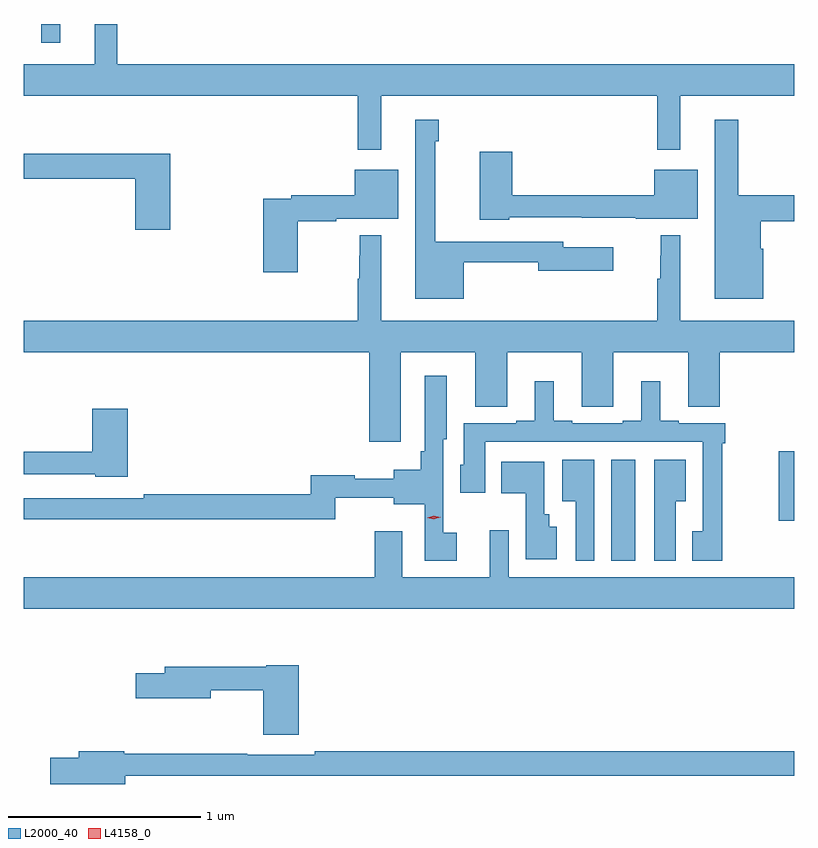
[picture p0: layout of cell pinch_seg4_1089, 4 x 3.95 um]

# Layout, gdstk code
import gdstk
lib = gdstk.Library(unit=1e-6, precision=1e-09)
def R(c, l, rs):  # rectangles x0, y0, x1, y1
    for r in rs: c.add(gdstk.rectangle(r[:2], r[2:], *l))
def P(c, l, *ps):  # polygons
    for p in ps: c.add(gdstk.Polygon(p, *l))
L2000_40 = (2000, 40)
L4158_0 = (4158, 0)

pinch_seg4_1089 = lib.new_cell('pinch_seg4_1089')
R(pinch_seg4_1089, L2000_40, [(421.328,806.394,421.453,806.917), (422.198,806.602,422.278,806.962), (418.37,809.082,418.467,809.18)])
P(pinch_seg4_1089, L2000_40, [(420.133,808.808),(421.566,808.808),(421.566,808.527),(421.687,808.527),(421.687,808.808),(422.278,808.808),(422.278,808.972),(418.763,808.972),(418.763,809.18),(418.646,809.18),(418.646,808.972),(418.278,808.972),(418.278,808.808),(420.012,808.808),(420.012,808.527),(420.133,808.527)],
  [(420.562,807.942),(420.95,807.942),(420.95,807.899),(421.339,807.899),(421.339,808.021),(421.078,808.021),(421.078,808.05),(420.415,808.05),(420.415,808.571),(420.433,808.571),(420.433,808.684),(420.311,808.684),(420.311,807.755),(420.562,807.755)],
  [(422.116,808.014),(422.104,808.014),(422.104,808.156),(422.278,808.156),(422.278,808.292),(421.987,808.292),(421.987,808.684),(421.865,808.684),(421.865,807.755),(422.116,807.755)],
  [(420.798,808.176),(421.174,808.176),(421.174,808.175),(421.454,808.175),(421.454,808.169),(421.777,808.169),(421.777,808.423),(421.55,808.423),(421.55,808.292),(420.815,808.292),(420.815,808.516),(420.644,808.516),(420.644,808.163),(420.798,808.163)],
  [(419.039,808.507),(418.278,808.507),(418.278,808.378),(418.856,808.378),(418.856,808.113),(419.039,808.113)],
  [(419.7,808.156),(419.9,808.156),(419.9,808.169),(420.223,808.169),(420.223,808.423),(419.996,808.423),(419.996,808.292),(419.668,808.292),(419.668,808.272),(419.522,808.272),(419.522,807.891),(419.7,807.891)],
  [(420.235,807.476),(420.623,807.476),(420.623,807.193),(420.787,807.193),(420.787,807.476),(421.175,807.476),(421.175,807.193),(421.339,807.193),(421.339,807.476),(421.727,807.476),(421.727,807.193),(421.891,807.193),(421.891,807.476),(422.278,807.476),(422.278,807.64),(421.687,807.64),(421.687,808.084),(421.585,808.084),(421.585,807.977),(421.583,807.977),(421.583,807.857),(421.566,807.857),(421.566,807.64),(420.133,807.64),(420.133,808.084),(420.022,808.084),(420.022,807.977),(420.019,807.977),(420.019,807.857),(420.012,807.857),(420.012,807.64),(418.278,807.64),(418.278,807.476),(420.071,807.476),(420.071,807.012),(420.235,807.012)],
  [(420.526,806.539),(420.456,806.539),(420.456,807.024),(420.475,807.024),(420.475,807.355),(420.359,807.355),(420.359,806.962),(420.34,806.962),(420.34,806.866),(420.2,806.866),(420.2,806.819),(419.997,806.819),(419.997,806.837),(419.767,806.837),(419.767,806.738),(418.9,806.738),(418.9,806.718),(418.278,806.718),(418.278,806.61),(419.896,806.61),(419.896,806.72),(420.2,806.72),(420.2,806.687),(420.36,806.687),(420.36,806.393),(420.526,806.393)],
  [(421.904,807.005),(421.919,807.005),(421.919,807.108),(421.678,807.108),(421.678,807.121),(421.582,807.121),(421.582,807.325),(421.484,807.325),(421.484,807.121),(421.388,807.121),(421.388,807.108),(421.126,807.108),(421.126,807.121),(421.03,807.121),(421.03,807.325),(420.932,807.325),(420.932,807.121),(420.836,807.121),(420.836,807.108),(420.563,807.108),(420.563,806.892),(420.545,806.892),(420.545,806.748),(420.673,806.748),(420.673,807.012),(421.803,807.012),(421.803,806.547),(421.748,806.547),(421.748,806.393),(421.904,806.393)],
  [(418.817,807.184),(418.634,807.184),(418.634,806.96),(418.278,806.96),(418.278,806.844),(418.65,806.844),(418.65,806.831),(418.817,806.831)],
  [(421.239,806.917),(421.073,806.917),(421.073,806.702),(421.143,806.702),(421.143,806.394),(421.239,806.394)],
  [(421.663,806.702),(421.714,806.702),(421.714,806.917),(421.55,806.917),(421.55,806.393),(421.663,806.393)],
  [(421.045,806.571),(421.006,806.571),(421.006,806.634),(420.981,806.634),(420.981,806.908),(420.758,806.908),(420.758,806.744),(420.885,806.744),(420.885,806.402),(421.045,806.402)],
  [(422.278,806.308),(420.795,806.308),(420.795,806.551),(420.698,806.551),(420.698,806.308),(420.244,806.308),(420.244,806.548),(420.101,806.548),(420.101,806.308),(418.278,806.308),(418.278,806.144),(422.278,806.144)],
  [(419.705,805.851),(419.538,805.851),(419.538,805.843),(419.009,805.843),(419.009,805.809),(418.86,805.809),(418.86,805.679),(419.248,805.679),(419.248,805.722),(419.522,805.722),(419.522,805.491),(419.705,805.491)],
  [(418.804,805.278),(422.278,805.278),(422.278,805.406),(419.788,805.406),(419.788,805.386),(419.438,805.386),(419.438,805.391),(418.8,805.391),(418.8,805.406),(418.565,805.406),(418.565,805.37),(418.416,805.37),(418.416,805.235),(418.804,805.235)])
P(pinch_seg4_1089, L4158_0, [(420.407,806.608),(420.372,806.616),(420.371,806.616),(420.372,806.617),(420.406,806.628),(420.441,806.62),(420.442,806.62),(420.441,806.62)])

lib.write_gds('pinch_seg4_1089.gds')
